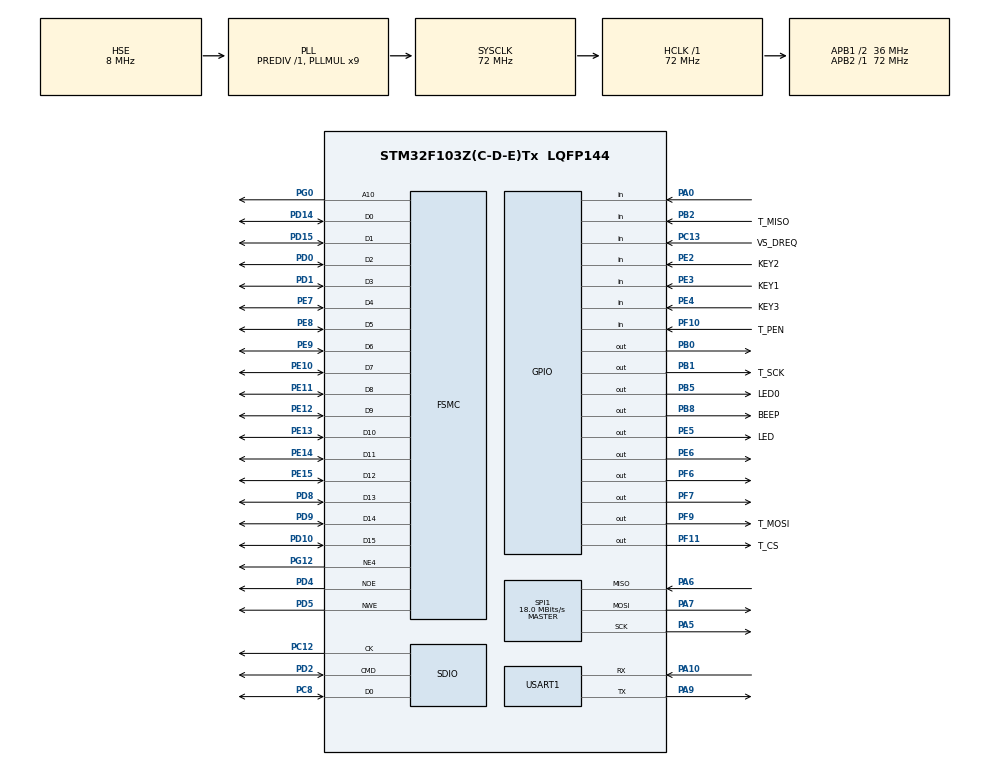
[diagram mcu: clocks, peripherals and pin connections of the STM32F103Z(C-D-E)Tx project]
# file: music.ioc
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FATFS._CODE_PAGE=1
FATFS._FS_LOCK=0
FATFS._MAX_LFN=64
FATFS._MAX_SS=4096
FATFS._USE_LFN=0
FSMC.AddressSetupTime1=0
FSMC.BusTurnAroundDuration1=0
FSMC.DataSetupTime1=15
FSMC.ExtendedAddressSetupTime1=0
FSMC.ExtendedBusTurnAroundDuration1=0
FSMC.ExtendedDataSetupTime1=1
FSMC.ExtendedMode1=FSMC_EXTENDED_MODE_ENABLE
Mcu.Family=STM32F1
Mcu.Name=STM32F103Z(C-D-E)Tx
Mcu.Package=LQFP144
NVIC.PriorityGroup=NVIC_PRIORITYGROUP_4
NVIC.USART1_IRQn=true\:0\:0\:false\:false\:true\:true\:true\:true
OSC_IN.Mode=HSE-External-Oscillator
OSC_IN.Signal=RCC_OSC_IN
OSC_OUT.Mode=HSE-External-Oscillator
OSC_OUT.Signal=RCC_OSC_OUT
PA0-WKUP.GPIO_PuPd=GPIO_PULLDOWN
PA0-WKUP.Signal=GPIO_Input
PA10.Mode=Asynchronous
PA10.Signal=USART1_RX
PA13.Mode=Serial_Wire
PA13.Signal=SYS_JTMS-SWDIO
PA14.Mode=Serial_Wire
PA14.Signal=SYS_JTCK-SWCLK
PA5.Mode=Full_Duplex_Master
PA5.Signal=SPI1_SCK
PA6.Mode=Full_Duplex_Master
PA6.Signal=SPI1_MISO
PA7.Mode=Full_Duplex_Master
PA7.Signal=SPI1_MOSI
PA9.Mode=Asynchronous
PA9.Signal=USART1_TX
PB0.PinState=GPIO_PIN_SET
PB0.Signal=GPIO_Output
PB1.GPIO_Label=T_SCK
PB1.Signal=GPIO_Output
PB2.GPIO_Label=T_MISO
PB2.GPIO_PuPd=GPIO_PULLUP
PB2.Signal=GPIO_Input
PB5.GPIO_Label=LED0
PB5.PinState=GPIO_PIN_RESET
PB5.Signal=GPIO_Output
PB8.GPIO_Label=BEEP
PB8.Signal=GPIO_Output
PC12.Mode=SD_1_bit
PC12.Signal=SDIO_CK
PC13-TAMPER-RTC.GPIO_Label=VS_DREQ 
PC13-TAMPER-RTC.GPIO_PuPd=GPIO_PULLUP
PC13-TAMPER-RTC.Signal=GPIO_Input
PC8.GPIO_Speed_High_Default=GPIO_SPEED_FREQ_HIGH
PC8.Mode=SD_1_bit
PC8.Signal=SDIO_D0
PD0.Signal=FSMC_D2_DA2
PD1.Signal=FSMC_D3_DA3
PD10.Signal=FSMC_D15_DA15
PD14.Signal=FSMC_D0_DA0
PD15.Signal=FSMC_D1_DA1
PD2.Mode=SD_1_bit
PD2.Signal=SDIO_CMD
PD4.Signal=FSMC_NOE
PD5.Signal=FSMC_NWE
PD8.Signal=FSMC_D13_DA13
PD9.Signal=FSMC_D14_DA14
PE10.Signal=FSMC_D7_DA7
PE11.Signal=FSMC_D8_DA8
PE12.Signal=FSMC_D9_DA9
PE13.Signal=FSMC_D10_DA10
PE14.Signal=FSMC_D11_DA11
PE15.GPIO_Mode=GPIO_MODE_AF_PP
PE15.Signal=FSMC_D12_DA12
PE2.GPIO_Label=KEY2
PE2.GPIO_PuPd=GPIO_PULLUP
PE2.Signal=GPIO_Input
PE3.GPIO_Label=KEY1
PE3.GPIO_PuPd=GPIO_PULLUP
PE3.Signal=GPIO_Input
PE4.GPIO_Label=KEY3
PE4.GPIO_PuPd=GPIO_PULLUP
PE4.Signal=GPIO_Input
PE5.GPIO_Label=LED
PE5.PinState=GPIO_PIN_SET
PE5.Signal=GPIO_Output
PE6.Signal=GPIO_Output
PE7.Signal=FSMC_D4_DA4
PE8.Signal=FSMC_D5_DA5
PE9.Signal=FSMC_D6_DA6
PF10.GPIO_Label=T_PEN
PF10.GPIO_PuPd=GPIO_PULLUP
PF10.Signal=GPIO_Input
PF11.GPIO_Label=T_CS
PF11.PinState=GPIO_PIN_SET
PF11.Signal=GPIO_Output
PF6.Signal=GPIO_Output
PF7.Signal=GPIO_Output
PF9.GPIO_Label=T_MOSI
PF9.Signal=GPIO_Output
PG0.Signal=FSMC_A10
PG12.GPIO_Mode=GPIO_MODE_AF_PP
PG12.Mode=NorPsramChipSelect4_1
PG12.Signal=FSMC_NE4
ProjectManager.HeapSize=0x150
ProjectManager.StackSize=0x300
ProjectManager.TargetToolchain=CMake
RCC.AHBFreq_Value=72000000
RCC.APB1CLKDivider=RCC_HCLK_DIV2
RCC.APB1Freq_Value=36000000
RCC.APB1TimFreq_Value=72000000
RCC.APB2Freq_Value=72000000
RCC.APB2TimFreq_Value=72000000
RCC.HCLKFreq_Value=72000000
RCC.PLLMUL=RCC_PLL_MUL9
RCC.PLLSourceVirtual=RCC_PLLSOURCE_HSE
RCC.SYSCLKFreq_VALUE=72000000
RCC.SYSCLKSource=RCC_SYSCLKSOURCE_PLLCLK
RCC.USBFreq_Value=72000000
SDIO.ClockDiv=2
SDIO.HardwareFlowControl=SDIO_HARDWARE_FLOW_CONTROL_ENABLE
SH.FSMC_A10.0=FSMC_A10,A10_1
SH.FSMC_D0_DA0.0=FSMC_D0,16b-d1
SH.FSMC_D10_DA10.0=FSMC_D10,16b-d1
SH.FSMC_D11_DA11.0=FSMC_D11,16b-d1
SH.FSMC_D12_DA12.0=FSMC_D12,16b-d1
SH.FSMC_D13_DA13.0=FSMC_D13,16b-d1
SH.FSMC_D14_DA14.0=FSMC_D14,16b-d1
SH.FSMC_D15_DA15.0=FSMC_D15,16b-d1
SH.FSMC_D1_DA1.0=FSMC_D1,16b-d1
SH.FSMC_D2_DA2.0=FSMC_D2,16b-d1
SH.FSMC_D3_DA3.0=FSMC_D3,16b-d1
SH.FSMC_D4_DA4.0=FSMC_D4,16b-d1
SH.FSMC_D5_DA5.0=FSMC_D5,16b-d1
SH.FSMC_D6_DA6.0=FSMC_D6,16b-d1
SH.FSMC_D7_DA7.0=FSMC_D7,16b-d1
SH.FSMC_D8_DA8.0=FSMC_D8,16b-d1
SH.FSMC_D9_DA9.0=FSMC_D9,16b-d1
SH.FSMC_NOE.0=FSMC_NOE,Lcd1
SH.FSMC_NWE.0=FSMC_NWE,Lcd1
SPI1.BaudRatePrescaler=SPI_BAUDRATEPRESCALER_4
SPI1.CLKPhase=SPI_PHASE_1EDGE
SPI1.CRCCalculation=SPI_CRCCALCULATION_DISABLE
SPI1.CalculateBaudRate=18.0 MBits/s
SPI1.Direction=SPI_DIRECTION_2LINES
SPI1.Mode=SPI_MODE_MASTER
SPI1.VirtualType=VM_MASTER
USART1.VirtualMode=VM_ASYNC
VP_FATFS_VS_Generic.Mode=User_defined
VP_FATFS_VS_SDIO.Mode=SDIO
board=custom

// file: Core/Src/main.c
/* USER CODE BEGIN Header */
/**
  ******************************************************************************
  * @file           : main.c
  * @brief          : Main program body
  ******************************************************************************
  * @attention
  *
  * Copyright (c) 2025 STMicroelectronics.
  * All rights reserved.
  *
  * This software is licensed under terms that can be found in the LICENSE file
  * in the root directory of this software component.
  * If no LICENSE file comes with this software, it is provided AS-IS.
  *
  ******************************************************************************
  */
/* USER CODE END Header */
#include "main.h"
#include "fatfs.h"
#include "sdio.h"
#include "spi.h"
#include "usart.h"
#include "gpio.h"
#include "fsmc.h"

/* USER CODE BEGIN Includes */
#include <stdio.h>
#include <stdbool.h>
#include <string.h>
#include "nt35310_alientek.h"
#include "hr2046.h"
#include "vs1053_port.h"
#include "lcdfont.h"
#include "sdio_sdcard.h"
#include "audio_player.h"

/* USER CODE END Includes */

void SystemClock_Config(void);
/* USER CODE BEGIN PFP */
// 音频播放器按键处理函数声明
void audio_handle_key1_play(void);      /* KEY1: 播放/暂停 */
void audio_handle_key2_next(void);      /* KEY2: 下一首 */
void audio_handle_key0_prev(void);      /* KEY0: 上一首 */
/* USER CODE END PFP */

int main(void)
{

  /* MCU Configuration--------------------------------------------------------*/

  /* Reset of all peripherals, Initializes the Flash interface and the Systick. */
  HAL_Init();

  /* Configure the system clock */
  SystemClock_Config();

  /* Initialize all configured peripherals */
  MX_GPIO_Init();
  MX_FSMC_Init();
  MX_SDIO_SD_Init();
  MX_SPI1_Init();
  MX_USART1_UART_Init();
  MX_FATFS_Init();
  /* USER CODE BEGIN 2 */
  /* 初始化LCD - 使用正点原子的方式 */
  lcd_init();

  /* 清理LCD显示区域，设置音乐播放器界面 */
  lcd_fill(0, 0, 320, 480, WHITE);  /* 清屏 */

  /* 显示音乐播放器标题 */
  lcd_show_string(10, 30, 300, 24, 16, "STM32 Music Player", BLACK);
  lcd_show_string(10, 60, 300, 16, 12, "KEY0:Prev | KEY1:Play | KEY2:Next", BLUE);

  /* 清理调试区域和音乐信息区域 */
  lcd_fill(10, 50, 310, 120, WHITE);   /* 清理上方调试区 */
  lcd_fill(10, 140, 310, 300, WHITE);  /* 清理中间调试区 */
  lcd_fill(10, 320, 310, 400, WHITE);  /* 清理音乐信息区 */

  /*初始化所有外设 都放这*/

  uint8_t init_result = device_init_all();
  if (init_result > 0)
  {
    /* 有设备初始化失败*/
    char status_str[50];
    sprintf(status_str, "Warning: %d device(s) failed", init_result);
    lcd_show_string(10, 450, 300, 16, 12, status_str, RED);
  }

  /*debug info*/
  // sd_show_complete_info();

  /* USER CODE END 2 */

  /* Infinite loop */
  /* USER CODE BEGIN WHILE */
  while (1)
  {
    /* 主循环运行指示器 */
    static uint32_t loop_counter = 0;
    loop_counter++;
    if (loop_counter % 200000 == 0) {  /* 每20万次循环更新一次状态 */
        char status_str[40];
        sprintf(status_str, "Music Player Ready [%lu]", loop_counter / 200000);
        lcd_show_string(10, 10, 300, 16, 12, status_str, BLUE);
    }

    /* 音频播放器按键控制 */
    audio_handle_key0_prev();         /* KEY0: 上一首 */
    audio_handle_key1_play();         /* KEY1: 播放/暂停 */
    audio_handle_key2_next();         /* KEY2: 下一首 */

    /* 音频播放任务 */
    audio_player_task();

    /* 处理触摸屏输入 */
    tp_handle_main_loop();

    /* USER CODE END WHILE */

  }
}

void SystemClock_Config(void)
{
  RCC_OscInitTypeDef RCC_OscInitStruct = {0};
  RCC_ClkInitTypeDef RCC_ClkInitStruct = {0};

  /** Initializes the RCC Oscillators according to the specified parameters
  * in the RCC_OscInitTypeDef structure.
  */
  RCC_OscInitStruct.OscillatorType = RCC_OSCILLATORTYPE_HSE;
  RCC_OscInitStruct.HSEState = RCC_HSE_ON;
  RCC_OscInitStruct.HSEPredivValue = RCC_HSE_PREDIV_DIV1;
  RCC_OscInitStruct.HSIState = RCC_HSI_ON;
  RCC_OscInitStruct.PLL.PLLState = RCC_PLL_ON;
  RCC_OscInitStruct.PLL.PLLSource = RCC_PLLSOURCE_HSE;
  RCC_OscInitStruct.PLL.PLLMUL = RCC_PLL_MUL9;
  if (HAL_RCC_OscConfig(&RCC_OscInitStruct) != HAL_OK)
  {
    Error_Handler();
  }

  /** Initializes the CPU, AHB and APB buses clocks
  */
  RCC_ClkInitStruct.ClockType = RCC_CLOCKTYPE_HCLK|RCC_CLOCKTYPE_SYSCLK
                              |RCC_CLOCKTYPE_PCLK1|RCC_CLOCKTYPE_PCLK2;
  RCC_ClkInitStruct.SYSCLKSource = RCC_SYSCLKSOURCE_PLLCLK;
  RCC_ClkInitStruct.AHBCLKDivider = RCC_SYSCLK_DIV1;
  RCC_ClkInitStruct.APB1CLKDivider = RCC_HCLK_DIV2;
  RCC_ClkInitStruct.APB2CLKDivider = RCC_HCLK_DIV1;

  if (HAL_RCC_ClockConfig(&RCC_ClkInitStruct, FLASH_LATENCY_2) != HAL_OK)
  {
    Error_Handler();
  }
}

/* USER CODE BEGIN 4 */

/**
 * @brief KEY1按键处理 - 播放/暂停控制
 */
void audio_handle_key1_play(void)
{
    static uint8_t key1_pressed = 0;

    if (HAL_GPIO_ReadPin(GPIOE, GPIO_PIN_3) == GPIO_PIN_RESET)  /* KEY1按下 */
    {
        if (!key1_pressed)
        {
            key1_pressed = 1;
            HAL_Delay(50);  /* 消抖 */

            if (HAL_GPIO_ReadPin(GPIOE, GPIO_PIN_3) == GPIO_PIN_RESET)  /* 确认按下 */
            {
                /* 播放当前歌曲 */
                audio_player_test_play();
            }
        }
    }
    else
    {
        key1_pressed = 0;
    }
}

/**
 * @brief KEY2按键处理 - 下一首
 */
void audio_handle_key2_next(void)
{
    static uint8_t key2_pressed = 0;

    if (HAL_GPIO_ReadPin(GPIOE, GPIO_PIN_2) == GPIO_PIN_RESET)  /* KEY2按下 */
    {
        if (!key2_pressed)
        {
            key2_pressed = 1;
            HAL_Delay(50);  /* 消抖 */

            if (HAL_GPIO_ReadPin(GPIOE, GPIO_PIN_2) == GPIO_PIN_RESET)  /* 确认按下 */
            {
                if (audio_player_next())
                {
                    /* 清理显示区域 */
                    lcd_fill(10, 320, 310, 400, WHITE);

                    /* 显示当前文件名 */
                    const char* filename = audio_player_get_current_file();
                    if (filename && strlen(filename) > 0)
                    {
                        char display_name[50];
                        snprintf(display_name, sizeof(display_name), "Next: %.35s", filename);
                        lcd_show_string(10, 320, 300, 16, 12, display_name, BLACK);
                    }
                }
                else
                {
                    lcd_show_string(10, 320, 300, 16, 12, "No next song available", RED);
                }
            }
        }
    }
    else
    {
        key2_pressed = 0;
    }
}

/**
 * @brief KEY0按键处理 - 上一首
 */
void audio_handle_key0_prev(void)
{
    static uint8_t key0_pressed = 0;

    if (HAL_GPIO_ReadPin(GPIOE, GPIO_PIN_4) == GPIO_PIN_RESET)  /* KEY0按下 */
    {
        if (!key0_pressed)
        {
            key0_pressed = 1;
            HAL_Delay(50);  /* 消抖 */

            if (HAL_GPIO_ReadPin(GPIOE, GPIO_PIN_4) == GPIO_PIN_RESET)  /* 确认按下 */
            {
                if (audio_player_prev())
                {
                    /* 清理显示区域 */
                    lcd_fill(10, 320, 310, 400, WHITE);

                    /* 显示当前文件名 */
                    const char* filename = audio_player_get_current_file();
                    if (filename && strlen(filename) > 0)
                    {
                        char display_name[50];
                        snprintf(display_name, sizeof(display_name), "Prev: %.35s", filename);
                        lcd_show_string(10, 320, 300, 16, 12, display_name, BLACK);
                    }
                }
                else
                {
                    lcd_show_string(10, 320, 300, 16, 12, "No previous song available", RED);
                }
            }
        }
    }
    else
    {
        key0_pressed = 0;
    }
}

/* USER CODE END 4 */

void Error_Handler(void)
{
  __disable_irq();
  while (1)
  {
  }
}
